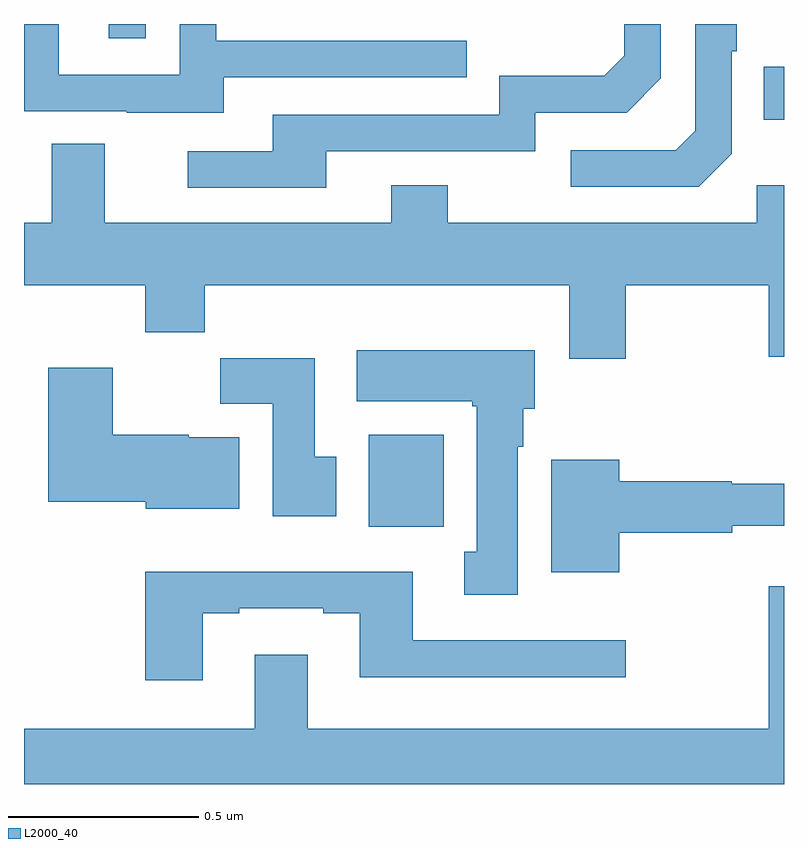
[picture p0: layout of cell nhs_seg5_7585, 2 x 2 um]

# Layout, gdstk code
import gdstk
lib = gdstk.Library(unit=1e-6, precision=1e-09)
def R(c, l, rs):  # rectangles x0, y0, x1, y1
    for r in rs: c.add(gdstk.rectangle(r[:2], r[2:], *l))
def P(c, l, *ps):  # polygons
    for p in ps: c.add(gdstk.Polygon(p, *l))
L2000_40 = (2000, 40)

nhs_seg5_7585 = lib.new_cell('nhs_seg5_7585')
R(nhs_seg5_7585, L2000_40, [(211.907,837.476,212.104,837.718), (212.947,838.547,213,838.687), (211.223,838.761,211.32,838.799)])
P(nhs_seg5_7585, L2000_40, [(211.525,838.659),(212.165,838.659),(212.165,838.755),(211.506,838.755),(211.506,838.799),(211.41,838.799),(211.41,838.665),(211.092,838.665),(211.092,838.799),(211,838.799),(211,838.569),(211.271,838.569),(211.271,838.565),(211.525,838.565)],
  [(212.862,838.458),(212.862,838.727),(212.875,838.727),(212.875,838.799),(212.766,838.799),(212.766,838.518),(212.715,838.467),(212.439,838.467),(212.439,838.371),(212.775,838.371)],
  [(211.795,838.464),(212.346,838.464),(212.346,838.566),(212.586,838.566),(212.676,838.656),(212.676,838.799),(212.58,838.799),(212.58,838.716),(212.527,838.663),(212.25,838.663),(212.25,838.56),(211.655,838.56),(211.655,838.464),(211.431,838.464),(211.431,838.368),(211.795,838.368)],
  [(212.583,838.112),(212.96,838.112),(212.96,837.924),(213,837.924),(213,838.375),(212.928,838.375),(212.928,838.276),(212.115,838.276),(212.115,838.375),(211.967,838.375),(211.967,838.276),(211.213,838.276),(211.213,838.484),(211.073,838.484),(211.073,838.276),(211,838.276),(211,838.112),(211.319,838.112),(211.319,837.988),(211.475,837.988),(211.475,838.112),(212.435,838.112),(212.435,837.918),(212.583,837.918)],
  [(212.299,837.686),(212.314,837.686),(212.314,837.786),(212.344,837.786),(212.344,837.94),(211.875,837.94),(211.875,837.806),(212.179,837.806),(212.179,837.793),(212.192,837.793),(212.192,837.41),(212.159,837.41),(212.159,837.297),(212.299,837.297)],
  [(211.822,837.66),(211.765,837.66),(211.765,837.919),(211.516,837.919),(211.516,837.8),(211.655,837.8),(211.655,837.504),(211.822,837.504)],
  [(211.567,837.712),(211.434,837.712),(211.434,837.718),(211.234,837.718),(211.234,837.895),(211.064,837.895),(211.064,837.542),(211.32,837.542),(211.32,837.524),(211.567,837.524)],
  [(212.566,837.46),(212.864,837.46),(212.864,837.479),(213,837.479),(213,837.589),(212.862,837.589),(212.862,837.596),(212.566,837.596),(212.566,837.652),(212.387,837.652),(212.387,837.356),(212.566,837.356)],
  [(211.471,837.249),(211.567,837.249),(211.567,837.261),(211.787,837.261),(211.787,837.249),(211.883,837.249),(211.883,837.08),(212.584,837.08),(212.584,837.177),(212.023,837.177),(212.023,837.358),(211.319,837.358),(211.319,837.072),(211.471,837.072)],
  [(213,837.319),(212.96,837.319),(212.96,836.944),(211.747,836.944),(211.747,837.139),(211.607,837.139),(211.607,836.944),(211,836.944),(211,836.799),(213,836.799)])

lib.write_gds('nhs_seg5_7585.gds')
